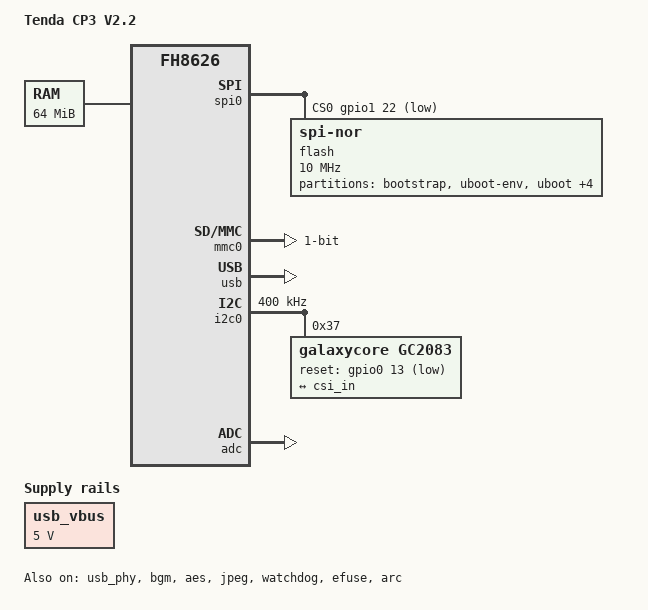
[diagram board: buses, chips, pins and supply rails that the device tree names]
// SPDX-License-Identifier: GPL-2.0
/*
 * Tenda CP3 V2.2 pan/tilt camera
 *
 * FH8626V100 with its 64 MiB of in-package DDR, an 8 MiB EON EN25QH64
 * SPI NOR, a GalaxyCore GC2083 sensor on I2C0 and a Realtek RTL8188FU
 * Wi-Fi adapter (0bda:f179) on the USB port.
 *
 * The camera keeps Tenda's U-Boot 2010.06. It boots a legacy uImage with
 * ATAGs; the kernel carries this device tree appended and must not take
 * the memory size or partitions from them (stock U-Boot passes mem=43M
 * and spi_flash: partitions), so the chosen bootargs below are complete.
 *
 * Only what the stock firmware shows is described. The status LEDs,
 * the reset button, the IR cut filter, the speaker amplifier and the
 * pan/tilt motors are left out until their polarity and timing have
 * been measured on a camera.
 */
/dts-v1/;
#include "fh8626v100.dtsi"

/ {
	model = "Tenda CP3 V2.2";
	compatible = "tenda,cp3-v22", "fullhan,fh8626v100", "fullhan,fh8626";
	#address-cells = <1>;
	#size-cells = <1>;

	chosen {
		stdout-path = "serial0:115200n8";
		/* The squashfs root is the "rootfs" partition, mtdblock6 */
		bootargs = "console=ttyS0,115200 root=/dev/mtdblock6 rootfstype=squashfs";
	};

	memory@a0000000 {
		device_type = "memory";
		reg = <0xa0000000 0x04000000>;
	};

	/*
	 * The Wi-Fi adapter sits permanently on the port. Its VBUS switch,
	 * if there is one, is not known, so this supply has no control.
	 */
	usb_vbus: regulator-usb-vbus {
		compatible = "regulator-fixed";
		regulator-name = "usb-vbus";
		regulator-min-microvolt = <5000000>;
		regulator-max-microvolt = <5000000>;
	};

	reserved-memory {
		#address-cells = <1>;
		#size-cells = <1>;
		ranges;

		cma_pool: cma@a2000000 {
			compatible = "shared-dma-pool";
			reusable;
			/*
			 * 28 MiB, 4 MiB-aligned (MAX_ORDER = 11) for media
			 * DMA workspaces. At 1920x1080 three NV12 capture
			 * buffers, the VPU frame scratch, the ISP 3DNR history,
			 * an H.264 context and the JPEG staging and output
			 * buffers take about 24 MiB; with the 1 MiB placement
			 * alignment of large allocations 24 MiB does not hold
			 * them.
			 */
			reg = <0xa2000000 0x01c00000>;
			linux,cma-default;
		};

		arc_memory: memory@a3f00000 {
			reg = <0xa3f00000 0x000c0000>;
			no-map;
		};

		arc_dma: dma-pool@a3fc0000 {
			compatible = "shared-dma-pool";
			reg = <0xa3fc0000 0x00040000>;
			no-map;
		};
	};
};

&timer {
	clock-frequency = <50000000>;
};

&spi0 {
	num-cs = <1>;
	cs-gpios = <&gpio1 22 GPIO_ACTIVE_LOW>;

	flash@0 {
		compatible = "jedec,spi-nor";
		reg = <0>;
		spi-max-frequency = <10000000>;
		spi-rx-bus-width = <1>;
		spi-tx-bus-width = <1>;

		/*
		 * Tenda's layout, which its U-Boot also uses: bootstrap,
		 * uboot-env and uboot at the same offsets, a 3 MiB kernel
		 * slot, a 512 KiB data and a 4288 KiB app partition, here
		 * named for OpenIPC's overlay and root.
		 */
		partitions {
			compatible = "fixed-partitions";
			#address-cells = <1>;
			#size-cells = <1>;

			partition@0 {
				label = "bootstrap";
				reg = <0x000000 0x010000>;
				read-only;
			};
			partition@10000 {
				label = "uboot-env";
				reg = <0x010000 0x010000>;
			};
			partition@20000 {
				label = "uboot";
				reg = <0x020000 0x030000>;
				read-only;
			};
			/*
			 * U-Boot's kload copies the kernel slot less its last
			 * 128 KiB, 0x2e0000 bytes, so that is the uImage limit.
			 */
			partition@50000 {
				label = "kernel";
				reg = <0x050000 0x2e0000>;
			};
			/*
			 * Before booting, U-Boot compares the 8 bytes 64 KiB
			 * from the end of the kernel slot with the image header
			 * at the start of the flash, and on a mismatch starts
			 * its SD card and TFTP flash updater. Never written.
			 */
			partition@330000 {
				label = "kernel-stamp";
				reg = <0x330000 0x020000>;
				read-only;
			};
			partition@350000 {
				label = "rootfs_data";
				reg = <0x350000 0x080000>;
			};
			partition@3d0000 {
				label = "rootfs";
				reg = <0x3d0000 0x430000>;
			};
		};
	};
};

&mmc0 {
	bus-width = <1>;
	max-frequency = <50000000>;
	clock-freq-min-max = <400000 50000000>;
	cap-sd-highspeed;
	no-1-8-v;
	status = "okay";
};

&usb {
	status = "okay";
};

&usb_phy {
	vbus-supply = <&usb_vbus>;
	status = "okay";
};

&dma {
	status = "okay";
};

&bgm {
	status = "okay";
};

&i2c0 {
	status = "okay";
	clock-frequency = <400000>;

	gc2083: camera-sensor@37 {
		compatible = "galaxycore,gc2083";
		reg = <0x37>;
		/* The CIS clock pad and GPIO13, the sensor reset */
		pinctrl-names = "default";
		pinctrl-0 = <&sensor_pins>;
		/* The stock streamer sets the CIS clock to 24 MHz */
		clocks = <&clk FH8626_CLK_CIS_OUT>;
		clock-names = "xvclk";
		assigned-clocks = <&clk FH8626_CLK_CIS_OUT>;
		assigned-clock-parents = <&osc>;
		/*
		 * GPIO13 per the stock board configuration. It is also the
		 * boot ROM's SPI NOR strap (high: boot from NOR); the machine
		 * code hands it back to the bootloader state on restart.
		 */
		reset-gpios = <&gpio0 13 GPIO_ACTIVE_LOW>;

		port {
			gc2083_out: endpoint {
				remote-endpoint = <&csi_in>;
				clock-lanes = <0>;
				data-lanes = <1 2>;
				link-frequencies = /bits/ 64 <250000000>;
			};
		};
	};
};

&csi_in {
	remote-endpoint = <&gc2083_out>;
	clock-lanes = <0>;
	data-lanes = <1 2>;
	/* The code the stock MIPI setup uses for the GC2083 */
	fullhan,frq-range = <8>;
};

&aes {
	status = "okay";
};

&jpeg {
	status = "okay";
};

&adc {
	status = "okay";
};

/* U-Boot leaves the watchdog disabled; it starts when it is opened */
&watchdog {
	status = "okay";
};

&efuse {
	status = "okay";
};

&arc {
	memory-region = <&arc_memory>, <&arc_dma>;
	status = "okay";
};
